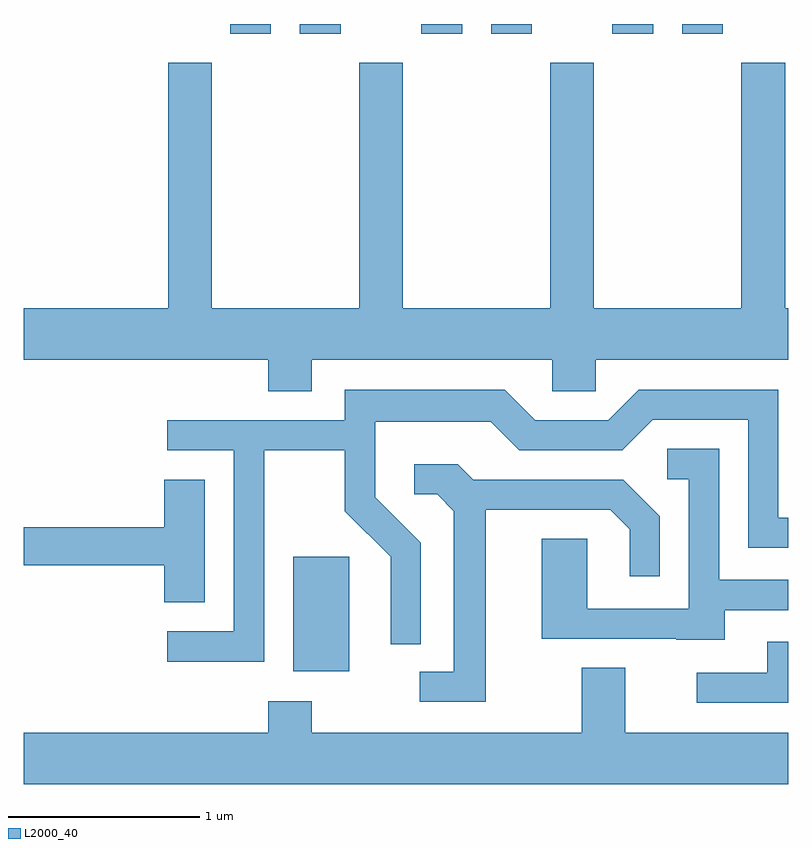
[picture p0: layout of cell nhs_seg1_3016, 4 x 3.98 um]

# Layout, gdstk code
import gdstk
lib = gdstk.Library(unit=1e-6, precision=1e-09)
def R(c, l, rs):  # rectangles x0, y0, x1, y1
    for r in rs: c.add(gdstk.rectangle(r[:2], r[2:], *l))
def P(c, l, *ps):  # polygons
    for p in ps: c.add(gdstk.Polygon(p, *l))
L2000_40 = (2000, 40)

nhs_seg1_3016 = lib.new_cell('nhs_seg1_3016')
R(nhs_seg1_3016, L2000_40, [(277.021,962.326,277.314,962.924), (276.691,965.661,276.904,965.712), (277.056,965.661,277.269,965.712), (277.691,965.661,277.904,965.712), (278.056,965.661,278.269,965.712), (278.691,965.661,278.904,965.712), (279.056,965.661,279.269,965.712)])
P(nhs_seg1_3016, L2000_40, [(277.119,963.956),(278.376,963.956),(278.376,963.791),(278.604,963.791),(278.604,963.956),(279.611,963.956),(279.611,964.224),(279.594,964.224),(279.594,965.509),(279.366,965.509),(279.366,964.224),(278.594,964.224),(278.594,965.509),(278.366,965.509),(278.366,964.224),(277.594,964.224),(277.594,965.509),(277.366,965.509),(277.366,964.224),(276.594,964.224),(276.594,965.509),(276.366,965.509),(276.366,964.224),(275.611,964.224),(275.611,963.956),(276.891,963.956),(276.891,963.791),(277.119,963.791)],
  [(276.869,963.481),(277.291,963.481),(277.291,963.164),(277.531,962.924),(277.531,962.468),(277.689,962.468),(277.689,962.997),(277.449,963.237),(277.449,963.631),(278.054,963.631),(278.204,963.481),(278.742,963.481),(278.902,963.641),(279.401,963.641),(279.401,962.971),(279.611,962.971),(279.611,963.129),(279.559,963.129),(279.559,963.799),(278.829,963.799),(278.669,963.639),(278.287,963.639),(278.127,963.799),(277.291,963.799),(277.291,963.639),(276.363,963.639),(276.363,963.481),(276.711,963.481),(276.711,962.534),(276.363,962.534),(276.363,962.376),(276.869,962.376)],
  [(279.279,962.646),(279.611,962.646),(279.611,962.804),(279.249,962.804),(279.249,963.489),(278.978,963.489),(278.978,963.331),(279.091,963.331),(279.091,962.654),(278.559,962.654),(278.559,963.019),(278.321,963.019),(278.321,962.496),(279.025,962.496),(279.025,962.491),(279.279,962.491)],
  [(278.029,963.171),(278.679,963.171),(278.781,963.069),(278.781,962.823),(278.939,962.823),(278.939,963.137),(278.747,963.329),(277.962,963.329),(277.882,963.409),(277.653,963.409),(277.653,963.251),(277.774,963.251),(277.861,963.164),(277.861,962.324),(277.683,962.324),(277.683,962.166),(278.029,962.166)],
  [(276.559,963.329),(276.346,963.329),(276.346,963.079),(275.611,963.079),(275.611,962.881),(276.346,962.881),(276.346,962.686),(276.559,962.686)],
  [(279.611,962.479),(279.501,962.479),(279.501,962.319),(279.133,962.319),(279.133,962.161),(279.611,962.161)],
  [(279.611,962.004),(278.759,962.004),(278.759,962.344),(278.531,962.344),(278.531,962.004),(277.119,962.004),(277.119,962.169),(276.891,962.169),(276.891,962.004),(275.611,962.004),(275.611,961.736),(279.611,961.736)])

lib.write_gds('nhs_seg1_3016.gds')
